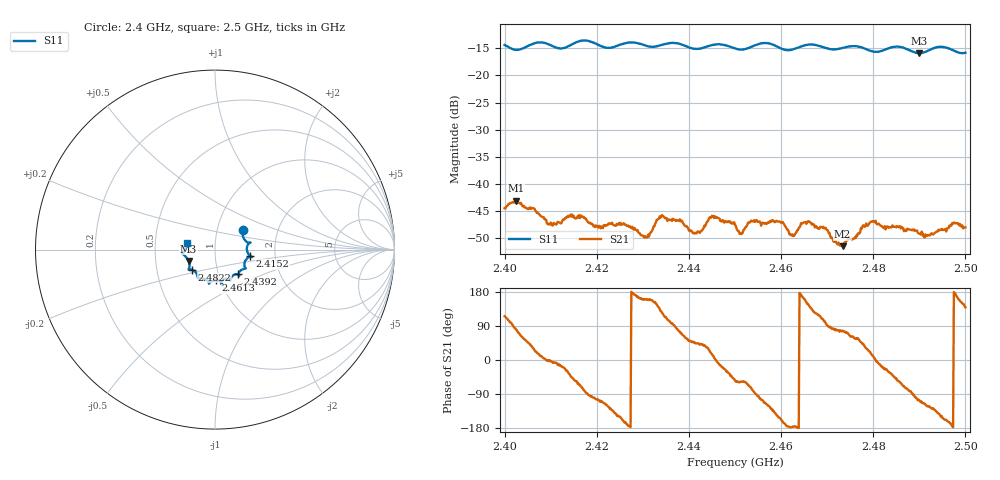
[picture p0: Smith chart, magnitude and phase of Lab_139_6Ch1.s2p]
# Hz S RI R 50
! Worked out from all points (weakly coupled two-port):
!   601 points, 2.4 GHz to 2.5 GHz, reference 50 ohm
!   highest |S21| = -43.09 dB at 2.4025 GHz (marker M1); lowest = -51.5 dB at 2.4733 GHz (marker M2)
!   lowest |S11| = -15.9 dB at 2.49 GHz (marker M3), VSWR 1.38, Z = 36.9 - j4.83 ohm
!   |S11| at or under -10 dB: start of sweep to end of sweep
!   S12 and S22 are empty: the file has one direction only
!   S11 on the Smith chart (normalised r, x): 2.4 GHz: 1.33, +0.31; 2.4152 GHz: 1.48, -0.11; 2.4392 GHz: 1.23, -0.35; 2.4613 GHz: 0.96, -0.34; 2.4822 GHz: 0.76, -0.17; 2.5 GHz: 0.73, +0.05
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2.4e9  0.1557 0.1107  -0.00255 0.00537  0 0  0 0
2.4025e9  0.1574 0.0691  0.00123 0.0069  0 0  0 0
2.409833e9  0.1881 0.0339  0.00422 -0.000259  0 0  0 0
2.415167e9  0.1952 -0.036  0.00293 -0.00388  0 0  0 0
2.416667e9  0.2049 -0.0419  0.0017 -0.00479  0 0  0 0
2.4305e9  0.1528 -0.1106  -0.0031 0.00112  0 0  0 0
2.433333e9  0.1321 -0.1325  -0.00365 0.00303  0 0  0 0
2.439167e9  0.1267 -0.1379  0.00207 0.00352  0 0  0 0
2.442e9  0.0985 -0.1453  0.00263 0.00253  0 0  0 0
2.445167e9  0.0846 -0.1714  0.00491 0.00106  0 0  0 0
2.45e9  0.0687 -0.1636  0.00248 -0.00336  0 0  0 0
2.451167e9  0.0551 -0.1641  0.00191 -0.00292  0 0  0 0
2.453667e9  0.0358 -0.181  0.000953 -0.00445  0 0  0 0
2.4585e9  0.037 -0.1865  -0.0033 -0.00303  0 0  0 0
2.461333e9  0.00721 -0.1706  -0.00377 -0.000329  0 0  0 0
2.466667e9  -0.0334 -0.1898  -0.00291 0.00305  0 0  0 0
2.473333e9  -0.0804 -0.16  0.000566 0.0026  0 0  0 0
2.479667e9  -0.1044 -0.1307  0.00434 0.00108  0 0  0 0
2.482167e9  -0.1282 -0.1119  0.00371 -0.00148  0 0  0 0
2.483333e9  -0.1396 -0.1104  0.00334 -0.00208  0 0  0 0
2.49e9  -0.1469 -0.0638  -0.000975 -0.00333  0 0  0 0
2.5e9  -0.1582 0.034  -0.003 0.0026  0 0  0 0
